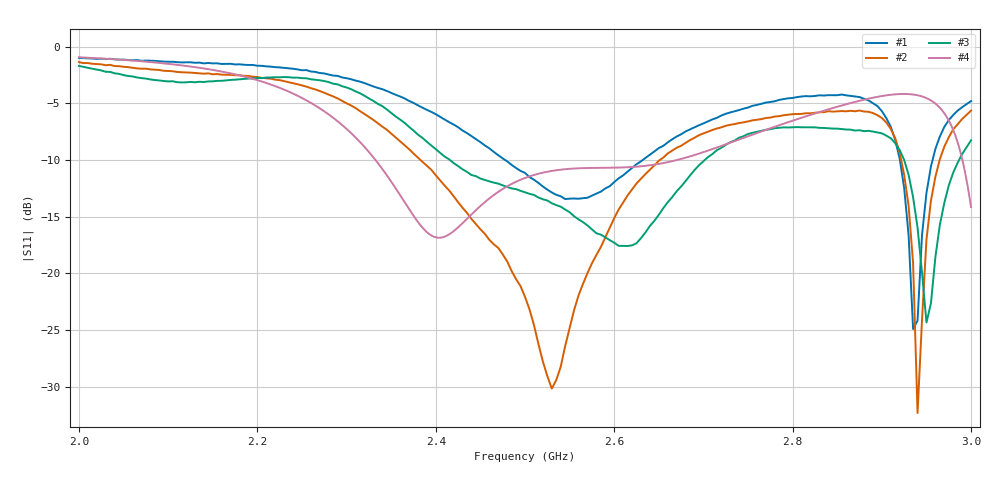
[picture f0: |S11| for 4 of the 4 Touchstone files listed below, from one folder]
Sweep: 2 GHz to 3 GHz
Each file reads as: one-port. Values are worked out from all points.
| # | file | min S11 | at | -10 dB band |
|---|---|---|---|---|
| 1 | S11_free_space.s1p | -24.9 dB | 2.935 GHz | 154.5 MHz wide |
| 2 | S11_hand_model.s1p | -32.3 dB | 2.94 GHz | 268.4 MHz wide |
| 3 | S11_real_arm.s1p | -24.3 dB | 2.95 GHz | 285.8 MHz wide |
| 4 | simulation_S11.s1p | -16.9 dB | 2.404 GHz | 338.3 MHz wide |
